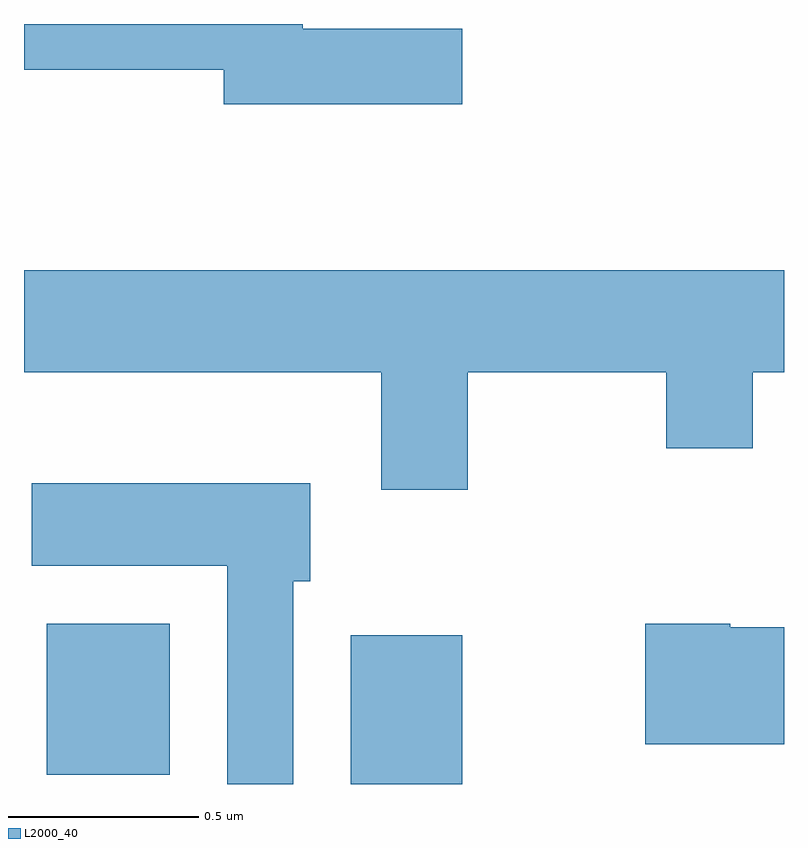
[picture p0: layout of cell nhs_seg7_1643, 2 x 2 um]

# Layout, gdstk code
import gdstk
lib = gdstk.Library(unit=1e-6, precision=1e-09)
def R(c, l, rs):  # rectangles x0, y0, x1, y1
    for r in rs: c.add(gdstk.rectangle(r[:2], r[2:], *l))
def P(c, l, *ps):  # polygons
    for p in ps: c.add(gdstk.Polygon(p, *l))
L2000_40 = (2000, 40)

nhs_seg7_1643 = lib.new_cell('nhs_seg7_1643')
R(nhs_seg7_1643, L2000_40, [(197.471,1804.252,197.764,1804.644), (196.671,1804.276,196.994,1804.674)])
P(nhs_seg7_1643, L2000_40, [(197.764,1806.239),(197.344,1806.239),(197.344,1806.252),(196.611,1806.252),(196.611,1806.131),(197.136,1806.131),(197.136,1806.041),(197.764,1806.041)],
  [(197.779,1805.336),(198.301,1805.336),(198.301,1805.136),(198.529,1805.136),(198.529,1805.336),(198.611,1805.336),(198.611,1805.604),(196.611,1805.604),(196.611,1805.336),(197.551,1805.336),(197.551,1805.026),(197.779,1805.026)],
  [(197.319,1804.786),(197.364,1804.786),(197.364,1805.044),(196.631,1805.044),(196.631,1804.826),(197.146,1804.826),(197.146,1804.252),(197.319,1804.252)],
  [(198.611,1804.664),(198.47,1804.664),(198.47,1804.674),(198.246,1804.674),(198.246,1804.356),(198.611,1804.356)])

lib.write_gds('nhs_seg7_1643.gds')
